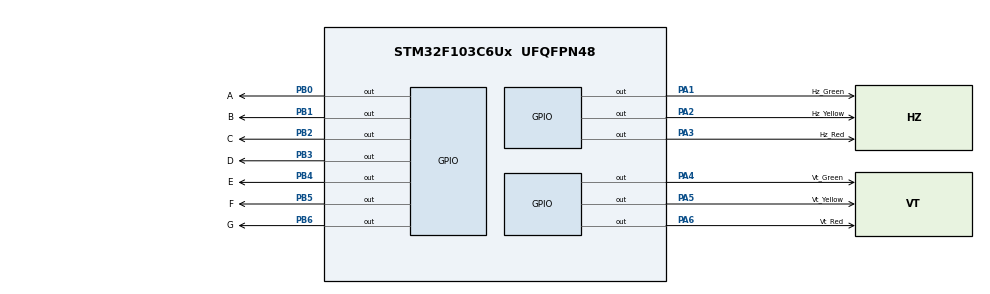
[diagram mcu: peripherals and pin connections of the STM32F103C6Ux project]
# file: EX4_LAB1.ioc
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Mcu.Family=STM32F1
Mcu.Name=STM32F103C6Ux
Mcu.Package=UFQFPN48
NVIC.PriorityGroup=NVIC_PRIORITYGROUP_4
PA1.GPIO_Label=Hz_Green
PA1.Signal=GPIO_Output
PA2.GPIO_Label=Hz_Yellow
PA2.Signal=GPIO_Output
PA3.GPIO_Label=Hz_Red
PA3.Signal=GPIO_Output
PA4.GPIO_Label=Vt_Green
PA4.Signal=GPIO_Output
PA5.GPIO_Label=Vt_Yellow
PA5.Signal=GPIO_Output
PA6.GPIO_Label=Vt_Red
PA6.Signal=GPIO_Output
PB0.GPIO_Label=A
PB0.Signal=GPIO_Output
PB1.GPIO_Label=B
PB1.Signal=GPIO_Output
PB2.GPIO_Label=C
PB2.Signal=GPIO_Output
PB3.GPIO_Label=D
PB3.Signal=GPIO_Output
PB4.GPIO_Label=E
PB4.Signal=GPIO_Output
PB5.GPIO_Label=F
PB5.Signal=GPIO_Output
PB6.GPIO_Label=G
PB6.Signal=GPIO_Output
ProjectManager.HeapSize=0x200
ProjectManager.StackSize=0x400
ProjectManager.TargetToolchain=STM32CubeIDE
RCC.APB1Freq_Value=8000000
RCC.APB2Freq_Value=8000000
board=custom

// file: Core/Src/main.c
/* USER CODE BEGIN Header */
/**
  ******************************************************************************
  * @file           : main.c
  * @brief          : Main program body
  ******************************************************************************
  * @attention
  *
  * Copyright (c) 2025 STMicroelectronics.
  * All rights reserved.
  *
  * This software is licensed under terms that can be found in the LICENSE file
  * in the root directory of this software component.
  * If no LICENSE file comes with this software, it is provided AS-IS.
  *
  ******************************************************************************
  */
/* USER CODE END Header */
#include "main.h"

void SystemClock_Config(void);
static void MX_GPIO_Init(void);

/* USER CODE BEGIN 0 */
//bit0=a, bit1=b, ... bit6=g
static const uint8_t segCode[10] = {
		  /*0*/ 0b1000000,  // abcdef ON, g OFF
		  /*1*/ 0b1111001,  // b c
		  /*2*/ 0b0100100,  // a b d e g
		  /*3*/ 0b0110000,  // a b c d g
		  /*4*/ 0b0011001,  // b c f g
		  /*5*/ 0b0010010,  // a c d f g
		  /*6*/ 0b0000010,  // a c d e f g
		  /*7*/ 0b1111000,  // a b c
		  /*8*/ 0b0000000,  // all
		  /*9*/ 0b0010000   // a b c d f g
};
// Mapping GPIO Pins a..g to PBx pins in Proteus.
// a->PB0, b->PB1, ..., g->PB6 in CubeIDE GPIO Pins Configure
static const uint16_t segPins[7] = {
  GPIO_PIN_0, // a -> PB0
  GPIO_PIN_1, // b -> PB1
  GPIO_PIN_2, // c -> PB2
  GPIO_PIN_3, // d -> PB3
  GPIO_PIN_4, // e -> PB4
  GPIO_PIN_5, // f -> PB5
  GPIO_PIN_6  // g -> PB6
};

// 0-9 numbers on 7-seg COM-ANODE (0=ON, 1=OFF)
void display7SEG(uint8_t num)
{
  if (num > 9) return;
  uint8_t code = segCode[num];

  for (int i = 0; i < 7; ++i) {
    /* bit = 1 (OFF) -> SET (HIGH); bit = 0 (ON) -> RESET (LOW) */
    GPIO_PinState st = (code & (1U << i)) ? GPIO_PIN_SET : GPIO_PIN_RESET;
    HAL_GPIO_WritePin(GPIOB, segPins[i], st);
  }
}

static void test7SEG(void)
{
  /* Exercise 4: show every digit once before the traffic cycle starts. */
  for (uint8_t digit = 0; digit < 10U; ++digit) {
    display7SEG(digit);
    HAL_Delay(1000);
  }
}

static void setTrafficLights(uint16_t horizontalPin, uint16_t verticalPin)
{
  const uint16_t horizontalPins = Hz_Green_Pin | Hz_Yellow_Pin | Hz_Red_Pin;
  const uint16_t verticalPins = Vt_Green_Pin | Vt_Yellow_Pin | Vt_Red_Pin;

  /* Turn everything off first, then enable exactly one light per direction. */
  HAL_GPIO_WritePin(GPIOA, horizontalPins | verticalPins, GPIO_PIN_RESET);
  HAL_GPIO_WritePin(GPIOA, horizontalPin | verticalPin, GPIO_PIN_SET);
}

static void countdown(uint8_t seconds)
{
  for (uint8_t value = seconds; value > 0U; --value) {
    display7SEG(value);
    HAL_Delay(1000);
  }
}
/* USER CODE END 0 */

int main(void)
{

  /* MCU Configuration--------------------------------------------------------*/

  /* Reset of all peripherals, Initializes the Flash interface and the Systick. */
  HAL_Init();

  /* Configure the system clock */
  SystemClock_Config();

  /* Initialize all configured peripherals */
  MX_GPIO_Init();
  /* USER CODE BEGIN 2 */
  test7SEG();
  /* USER CODE END 2 */

  /* Infinite loop */
  /* USER CODE BEGIN WHILE */
  while (1)
  {
	  /* Exercises 3 and 5: safe two-direction traffic-light cycle. */
	  setTrafficLights(Hz_Green_Pin, Vt_Red_Pin);
	  countdown(3);

	  setTrafficLights(Hz_Yellow_Pin, Vt_Red_Pin);
	  countdown(2);

	  setTrafficLights(Hz_Red_Pin, Vt_Green_Pin);
	  countdown(3);

	  setTrafficLights(Hz_Red_Pin, Vt_Yellow_Pin);
	  countdown(2);

    /* USER CODE END WHILE */

  }
}

void SystemClock_Config(void)
{
  RCC_OscInitTypeDef RCC_OscInitStruct = {0};
  RCC_ClkInitTypeDef RCC_ClkInitStruct = {0};

  /** Initializes the RCC Oscillators according to the specified parameters
  * in the RCC_OscInitTypeDef structure.
  */
  RCC_OscInitStruct.OscillatorType = RCC_OSCILLATORTYPE_HSI;
  RCC_OscInitStruct.HSIState = RCC_HSI_ON;
  RCC_OscInitStruct.HSICalibrationValue = RCC_HSICALIBRATION_DEFAULT;
  RCC_OscInitStruct.PLL.PLLState = RCC_PLL_NONE;
  if (HAL_RCC_OscConfig(&RCC_OscInitStruct) != HAL_OK)
  {
    Error_Handler();
  }

  /** Initializes the CPU, AHB and APB buses clocks
  */
  RCC_ClkInitStruct.ClockType = RCC_CLOCKTYPE_HCLK|RCC_CLOCKTYPE_SYSCLK
                              |RCC_CLOCKTYPE_PCLK1|RCC_CLOCKTYPE_PCLK2;
  RCC_ClkInitStruct.SYSCLKSource = RCC_SYSCLKSOURCE_HSI;
  RCC_ClkInitStruct.AHBCLKDivider = RCC_SYSCLK_DIV1;
  RCC_ClkInitStruct.APB1CLKDivider = RCC_HCLK_DIV1;
  RCC_ClkInitStruct.APB2CLKDivider = RCC_HCLK_DIV1;

  if (HAL_RCC_ClockConfig(&RCC_ClkInitStruct, FLASH_LATENCY_0) != HAL_OK)
  {
    Error_Handler();
  }
}

static void MX_GPIO_Init(void)
{
  GPIO_InitTypeDef GPIO_InitStruct = {0};

  /* GPIO Ports Clock Enable */
  __HAL_RCC_GPIOA_CLK_ENABLE();
  __HAL_RCC_GPIOB_CLK_ENABLE();

  /*Configure GPIO pin Output Level */
  HAL_GPIO_WritePin(GPIOA, Hz_Green_Pin|Hz_Yellow_Pin|Hz_Red_Pin|Vt_Green_Pin
                          |Vt_Yellow_Pin|Vt_Red_Pin, GPIO_PIN_RESET);

  /*Configure GPIO pin Output Level */
  HAL_GPIO_WritePin(GPIOB, A_Pin|B_Pin|C_Pin|D_Pin
                          |E_Pin|F_Pin|G_Pin, GPIO_PIN_SET); //RESET -> COM_ANODE : HIGH = OFF

  /*Configure GPIO pins : Hz_Green_Pin Hz_Yellow_Pin Hz_Red_Pin Vt_Green_Pin
                           Vt_Yellow_Pin Vt_Red_Pin */
  GPIO_InitStruct.Pin = Hz_Green_Pin|Hz_Yellow_Pin|Hz_Red_Pin|Vt_Green_Pin
                          |Vt_Yellow_Pin|Vt_Red_Pin;
  GPIO_InitStruct.Mode = GPIO_MODE_OUTPUT_PP;
  GPIO_InitStruct.Pull = GPIO_NOPULL;
  GPIO_InitStruct.Speed = GPIO_SPEED_FREQ_LOW;
  HAL_GPIO_Init(GPIOA, &GPIO_InitStruct);

  /*Configure GPIO pins : A_Pin B_Pin C_Pin D_Pin
                           E_Pin F_Pin G_Pin */
  GPIO_InitStruct.Pin = A_Pin|B_Pin|C_Pin|D_Pin
                          |E_Pin|F_Pin|G_Pin;
  GPIO_InitStruct.Mode = GPIO_MODE_OUTPUT_PP;
  GPIO_InitStruct.Pull = GPIO_NOPULL;
  GPIO_InitStruct.Speed = GPIO_SPEED_FREQ_LOW;
  HAL_GPIO_Init(GPIOB, &GPIO_InitStruct);

}

void Error_Handler(void)
{
  __disable_irq();
  while (1)
  {
  }
}
